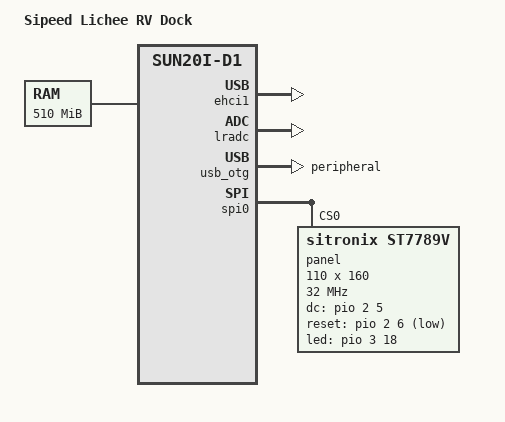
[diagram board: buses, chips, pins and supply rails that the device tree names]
// SPDX-License-Identifier: (GPL-2.0+ OR MIT)
// Copyright (C) 2022 Jisheng Zhang <jszhang@kernel.org>
// Copyright (C) 2022 Samuel Holland <samuel@sholland.org>

#include <dt-bindings/input/input.h>

#include "sun20i-d1-lichee-rv.dts"

/ {
	model = "Sipeed Lichee RV Dock";
	compatible = "sipeed,lichee-rv-dock", "sipeed,lichee-rv",
		     "allwinner,sun20i-d1";

	aliases {
		spi0 = &spi0;
	};

	memory@40000000 {
		device_type = "memory";
		reg = <0x40200000 0x1fe00000>;
	};

	chosen {
		stdout-path = "serial0:115200n8";
    cmdline = "console=tty0 console=ttyS0,115200 loglevel=7 earlycon cma=24M g_ether.dev_addr=02:3b:00:70:d1:0a g_ether.host_addr=02:3b:00:70:d1:0b";
	};
};

&ohci0 {
	status = "disabled";
};

&ehci0 {
	status = "disabled";
};

&ehci1 {
	status = "okay";
};

&lradc {
	// vref-supply = <&reg_aldo>;
	wakeup-source;
	status = "okay";

	button-160 {
		label = "OK";
		linux,code = <KEY_OK>;
		channel = <0>;
		voltage = <160000>;
	};
};

&usb_otg {
	dr_mode = "peripheral";
	status = "okay";
};

/*
&reg_ldoa {
	regulator-always-on;
	regulator-min-microvolt = <1800000>;
	regulator-max-microvolt = <1800000>;
	ldo-in-supply = <&reg_vcc_3v3>;
};
*/
&spi0 {
	pinctrl-0 = <&spi0_tft_pins>;
	pinctrl-names = "default";
	status = "okay";
	num-cs = <1>;

	panel@0 {
		compatible = "sitronix,st7789v";
		buswidth = <0x8>;
		reg = <0>;
		dc-gpios = <&pio 2 5 GPIO_ACTIVE_HIGH>; // PC5
		reset-gpios = <&pio 2 6 GPIO_ACTIVE_LOW>; // PC6
		led-gpios = <&pio 3 18 GPIO_ACTIVE_HIGH>; // PD18
		spi-max-frequency = <32000000>;
		// FIXME: should have offsets; the screen really is 80x160
		width = <110>;
		height = <160>;
		bgr = <1>;
		txbuflen = <32768>;
		spi-cpol;
		spi-cpha;
		rotate = <90>;
		fps = <25>;
		status = "okay";
		debug = <1>;
	};
};
